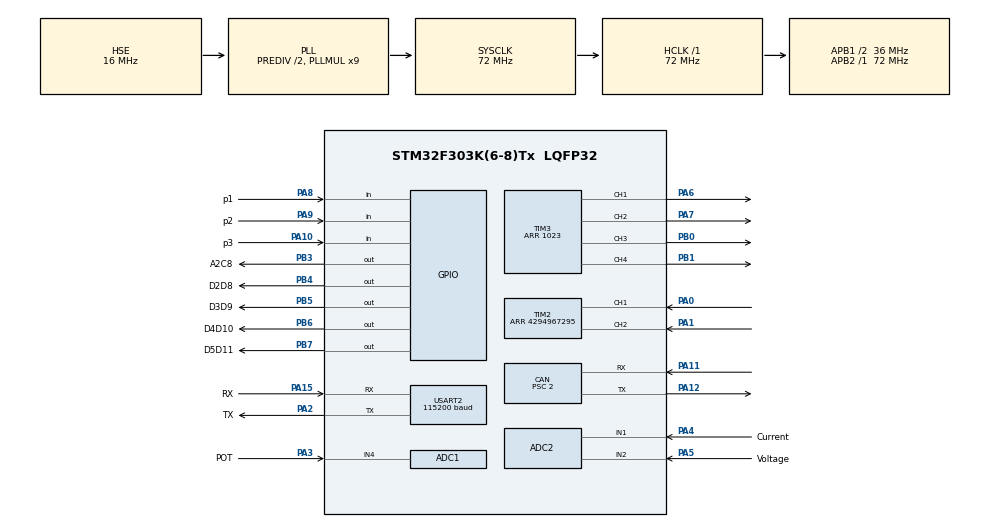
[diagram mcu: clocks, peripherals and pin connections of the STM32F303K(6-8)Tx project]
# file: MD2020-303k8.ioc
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ADC1.Channel-2\#ChannelRegularConversion=ADC_CHANNEL_4
ADC1.ClockPrescaler=ADC_CLOCK_SYNC_PCLK_DIV4
ADC1.ContinuousConvMode=ENABLE
ADC1.DMAContinuousRequests=ENABLE
ADC1.EnableInjectedConversion=DISABLE
ADC1.NbrOfConversionFlag=1
ADC1.Offset-2\#ChannelRegularConversion=0
ADC1.OffsetNumber-2\#ChannelRegularConversion=ADC_OFFSET_NONE
ADC1.Overrun=ADC_OVR_DATA_PRESERVED
ADC1.Rank-2\#ChannelRegularConversion=1
ADC1.SamplingTime-2\#ChannelRegularConversion=ADC_SAMPLETIME_19CYCLES_5
ADC1.SubFamily=STM32F303x8
ADC1.master=1
ADC2.Channel-8\#ChannelRegularConversion=ADC_CHANNEL_1
ADC2.Channel-9\#ChannelRegularConversion=ADC_CHANNEL_2
ADC2.ClockPrescaler=ADC_CLOCK_SYNC_PCLK_DIV4
ADC2.ContinuousConvMode=ENABLE
ADC2.DMAContinuousRequests=ENABLE
ADC2.EOCSelection=ADC_EOC_SEQ_CONV
ADC2.EnableInjectedConversion=DISABLE
ADC2.EnableRegularConversion=ENABLE
ADC2.NbrOfConversion=2
ADC2.NbrOfConversionFlag=1
ADC2.Offset-8\#ChannelRegularConversion=0
ADC2.Offset-9\#ChannelRegularConversion=0
ADC2.OffsetNumber-8\#ChannelRegularConversion=ADC_OFFSET_NONE
ADC2.OffsetNumber-9\#ChannelRegularConversion=ADC_OFFSET_NONE
ADC2.Rank-8\#ChannelRegularConversion=1
ADC2.Rank-9\#ChannelRegularConversion=2
ADC2.SamplingTime-8\#ChannelRegularConversion=ADC_SAMPLETIME_1CYCLE_5
ADC2.SamplingTime-9\#ChannelRegularConversion=ADC_SAMPLETIME_1CYCLE_5
ADC2.SubFamily=STM32F303x8
CAN.BS1=CAN_BS1_15TQ
CAN.BS2=CAN_BS2_2TQ
CAN.CalculateTimeQuantum=55.55555555555556
CAN.Prescaler=2
Dma.ADC1.0.Direction=DMA_PERIPH_TO_MEMORY
Dma.ADC1.0.Instance=DMA1_Channel1
Dma.ADC1.0.MemDataAlignment=DMA_MDATAALIGN_HALFWORD
Dma.ADC1.0.MemInc=DMA_MINC_ENABLE
Dma.ADC1.0.Mode=DMA_CIRCULAR
Dma.ADC1.0.PeriphDataAlignment=DMA_PDATAALIGN_HALFWORD
Dma.ADC1.0.PeriphInc=DMA_PINC_DISABLE
Dma.ADC1.0.Priority=DMA_PRIORITY_LOW
Dma.ADC2.1.Direction=DMA_PERIPH_TO_MEMORY
Dma.ADC2.1.Instance=DMA1_Channel2
Dma.ADC2.1.MemDataAlignment=DMA_MDATAALIGN_HALFWORD
Dma.ADC2.1.MemInc=DMA_MINC_ENABLE
Dma.ADC2.1.Mode=DMA_CIRCULAR
Dma.ADC2.1.PeriphDataAlignment=DMA_PDATAALIGN_HALFWORD
Dma.ADC2.1.PeriphInc=DMA_PINC_DISABLE
Dma.ADC2.1.Priority=DMA_PRIORITY_LOW
Dma.Request0=ADC1
Dma.Request1=ADC2
FREERTOS.INCLUDE_vTaskDelayUntil=1
FREERTOS.Tasks01=defaultTask,0,128,StartDefaultTask,Default,NULL,Dynamic,NULL,NULL;MinorLoopTask,3,256,StartMinorLoopTask,Default,NULL,Dynamic,NULL,NULL;MajorLoopTask,2,1024,StartMajorLoopTask,Default,NULL,Dynamic,NULL,NULL;CanCommunicatio,1,512,StartCanCommunicationTask,Default,NULL,Dynamic,NULL,NULL
FREERTOS.configTOTAL_HEAP_SIZE=8200
Mcu.Family=STM32F3
Mcu.Name=STM32F303K(6-8)Tx
Mcu.Package=LQFP32
NVIC.ADC1_2_IRQn=true\:5\:0\:false\:false\:true\:true\:true\:true
NVIC.CAN_RX0_IRQn=true\:5\:0\:false\:false\:true\:true\:true\:true
NVIC.CAN_RX1_IRQn=true\:5\:0\:false\:false\:true\:true\:true\:true
NVIC.CAN_TX_IRQn=true\:5\:0\:false\:false\:true\:true\:true\:true
NVIC.DMA1_Channel1_IRQn=true\:5\:0\:false\:false\:true\:true\:false\:true
NVIC.DMA1_Channel2_IRQn=true\:5\:0\:false\:false\:true\:true\:false\:true
NVIC.PriorityGroup=NVIC_PRIORITYGROUP_4
NVIC.TIM1_TRG_COM_TIM17_IRQn=true\:0\:0\:false\:false\:true\:false\:false\:true
NVIC.TimeBase=TIM1_TRG_COM_TIM17_IRQn
NVIC.TimeBaseIP=TIM17
NVIC.USART2_IRQn=true\:5\:0\:false\:false\:true\:true\:true\:true
PA0.Signal=S_TIM2_CH1_ETR
PA1.Signal=S_TIM2_CH2
PA10.GPIO_Label=p3
PA10.Signal=GPIO_Input
PA11.Mode=Master
PA11.Signal=CAN_RX
PA12.Mode=Master
PA12.Signal=CAN_TX
PA13.Mode=Serial_Wire
PA13.Signal=SYS_JTMS-SWDIO
PA14.Mode=Serial_Wire
PA14.Signal=SYS_JTCK-SWCLK
PA15.GPIO_Label=RX
PA15.Mode=Asynchronous
PA15.Signal=USART2_RX
PA2.GPIO_Label=TX
PA2.Mode=Asynchronous
PA2.Signal=USART2_TX
PA3.GPIO_Label=POT
PA3.Mode=IN4-Single-Ended
PA3.Signal=ADC1_IN4
PA4.GPIO_Label=Current
PA4.Mode=IN1-Single-Ended
PA4.Signal=ADC2_IN1
PA5.GPIO_Label=Voltage
PA5.Mode=IN2-Single-Ended
PA5.Signal=ADC2_IN2
PA6.Signal=S_TIM3_CH1
PA7.Signal=S_TIM3_CH2
PA8.GPIO_Label=p1
PA8.Signal=GPIO_Input
PA9.GPIO_Label=p2
PA9.Signal=GPIO_Input
PB0.Signal=S_TIM3_CH3
PB1.Signal=S_TIM3_CH4
PB3.GPIO_Label=A2C8
PB3.Signal=GPIO_Output
PB4.GPIO_Label=D2D8
PB4.Signal=GPIO_Output
PB5.GPIO_Label=D3D9
PB5.Signal=GPIO_Output
PB6.GPIO_Label=D4D10
PB6.Signal=GPIO_Output
PB7.GPIO_Label=D5D11
PB7.Signal=GPIO_Output
PF0\ /\ OSC_IN.Mode=HSE-External-Oscillator
PF0\ /\ OSC_IN.Signal=RCC_OSC_IN
PF1\ /\ OSC_OUT.Mode=HSE-External-Oscillator
PF1\ /\ OSC_OUT.Signal=RCC_OSC_OUT
ProjectManager.HeapSize=0x200
ProjectManager.StackSize=0x400
ProjectManager.TargetToolchain=STM32CubeIDE
RCC.AHBFreq_Value=72000000
RCC.APB1CLKDivider=RCC_HCLK_DIV2
RCC.APB1Freq_Value=36000000
RCC.APB1TimFreq_Value=72000000
RCC.APB2Freq_Value=72000000
RCC.APB2TimFreq_Value=72000000
RCC.CortexFreq_Value=72000000
RCC.HCLKFreq_Value=72000000
RCC.HSE_VALUE=16000000
RCC.HSI_VALUE=8000000
RCC.PLLMUL=RCC_PLL_MUL9
RCC.PLLSourceVirtual=RCC_PLLSOURCE_HSE
RCC.RCC_PLLsource_Clock_Source_FROM_HSE=RCC_HSE_PREDIV_DIV2
RCC.SYSCLKFreq_VALUE=72000000
RCC.SYSCLKSourceVirtual=RCC_SYSCLKSOURCE_PLLCLK
SH.S_TIM2_CH1_ETR.0=TIM2_CH1,Encoder_Interface
SH.S_TIM2_CH2.0=TIM2_CH2,Encoder_Interface
SH.S_TIM3_CH1.0=TIM3_CH1,PWM Generation1 CH1
SH.S_TIM3_CH2.0=TIM3_CH2,PWM Generation2 CH2
SH.S_TIM3_CH3.0=TIM3_CH3,PWM Generation3 CH3
SH.S_TIM3_CH4.0=TIM3_CH4,PWM Generation4 CH4
TIM2.EncoderMode=TIM_ENCODERMODE_TI12
TIM2.IC1Filter=3
TIM2.IC1Polarity=TIM_ICPOLARITY_FALLING
TIM2.IC2Filter=3
TIM2.IC2Polarity=TIM_ICPOLARITY_FALLING
TIM2.Period=4294967295
TIM3.AutoReloadPreload=TIM_AUTORELOAD_PRELOAD_ENABLE
TIM3.Channel-PWM\ Generation1\ CH1=TIM_CHANNEL_1
TIM3.Channel-PWM\ Generation2\ CH2=TIM_CHANNEL_2
TIM3.Channel-PWM\ Generation3\ CH3=TIM_CHANNEL_3
TIM3.Channel-PWM\ Generation4\ CH4=TIM_CHANNEL_4
TIM3.CounterMode=TIM_COUNTERMODE_CENTERALIGNED1
TIM3.Period=1023
TIM3.TIM_MasterOutputTrigger=TIM_TRGO_UPDATE
USART2.BaudRate=115200
USART2.VirtualMode-Asynchronous=VM_ASYNC
VP_FREERTOS_VS_CMSIS_V1.Mode=CMSIS_V1
VP_SYS_VS_tim17.Mode=TIM17
VP_TIM3_VS_ClockSourceINT.Mode=Internal
board=custom

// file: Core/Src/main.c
/* USER CODE BEGIN Header */
/**
  ******************************************************************************
  * @file           : main.c
  * @brief          : Main program body
  ******************************************************************************
  * @attention
  *
  * <h2><center>&copy; Copyright (c) 2020 STMicroelectronics.
  * All rights reserved.</center></h2>
  *
  * This software component is licensed by ST under Ultimate Liberty license
  * SLA0044, the "License"; You may not use this file except in compliance with
  * the License. You may obtain a copy of the License at:
  *                             www.st.com/SLA0044
  *
  ******************************************************************************
  */
/* USER CODE END Header */

#include "main.h"
#include "cmsis_os.h"
#include "adc.h"
#include "can.h"
#include "dma.h"
#include "tim.h"
#include "usart.h"
#include "gpio.h"

void SystemClock_Config(void);
void MX_FREERTOS_Init(void);

int main(void)
{

  /* MCU Configuration--------------------------------------------------------*/

  /* Reset of all peripherals, Initializes the Flash interface and the Systick. */
  HAL_Init();

  /* Configure the system clock */
  SystemClock_Config();

  /* Initialize all configured peripherals */
  MX_GPIO_Init();
  MX_DMA_Init();
  MX_ADC1_Init();
  MX_ADC2_Init();
  MX_CAN_Init();
  MX_TIM2_Init();
  MX_TIM3_Init();
  MX_USART2_UART_Init();
  /* USER CODE BEGIN 2 */
  HAL_TIM_Encoder_Start(&htim2, TIM_CHANNEL_ALL);
  TIM_PWM_Start();

  /* USER CODE END 2 */

  /* Call init function for freertos objects (in freertos.c) */
  MX_FREERTOS_Init();
  /* Start scheduler */
  osKernelStart();

  /* We should never get here as control is now taken by the scheduler */
  /* Infinite loop */
  while (1)
  {

  }
}

void SystemClock_Config(void)
{
  RCC_OscInitTypeDef RCC_OscInitStruct = {0};
  RCC_ClkInitTypeDef RCC_ClkInitStruct = {0};

  /** Initializes the CPU, AHB and APB busses clocks
  */
  RCC_OscInitStruct.OscillatorType = RCC_OSCILLATORTYPE_HSE;
  RCC_OscInitStruct.HSEState = RCC_HSE_ON;
  RCC_OscInitStruct.HSEPredivValue = RCC_HSE_PREDIV_DIV2;
  RCC_OscInitStruct.HSIState = RCC_HSI_ON;
  RCC_OscInitStruct.PLL.PLLState = RCC_PLL_ON;
  RCC_OscInitStruct.PLL.PLLSource = RCC_PLLSOURCE_HSE;
  RCC_OscInitStruct.PLL.PLLMUL = RCC_PLL_MUL9;
  if (HAL_RCC_OscConfig(&RCC_OscInitStruct) != HAL_OK)
  {
    Error_Handler();
  }
  /** Initializes the CPU, AHB and APB busses clocks
  */
  RCC_ClkInitStruct.ClockType = RCC_CLOCKTYPE_HCLK|RCC_CLOCKTYPE_SYSCLK
                              |RCC_CLOCKTYPE_PCLK1|RCC_CLOCKTYPE_PCLK2;
  RCC_ClkInitStruct.SYSCLKSource = RCC_SYSCLKSOURCE_PLLCLK;
  RCC_ClkInitStruct.AHBCLKDivider = RCC_SYSCLK_DIV1;
  RCC_ClkInitStruct.APB1CLKDivider = RCC_HCLK_DIV2;
  RCC_ClkInitStruct.APB2CLKDivider = RCC_HCLK_DIV1;

  if (HAL_RCC_ClockConfig(&RCC_ClkInitStruct, FLASH_LATENCY_2) != HAL_OK)
  {
    Error_Handler();
  }
}

 /**
  * @brief  Period elapsed callback in non blocking mode
  * @note   This function is called  when TIM17 interrupt took place, inside
  * HAL_TIM_IRQHandler(). It makes a direct call to HAL_IncTick() to increment
  * a global variable "uwTick" used as application time base.
  * @param  htim : TIM handle
  * @retval None
  */
void HAL_TIM_PeriodElapsedCallback(TIM_HandleTypeDef *htim)
{
  if (htim->Instance == TIM17) {
    HAL_IncTick();
  }
}

void Error_Handler(void)
{
}

/************************ (C) COPYRIGHT STMicroelectronics *****END OF FILE****/

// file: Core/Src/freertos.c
/* USER CODE BEGIN Header */
/**
  ******************************************************************************
  * File Name          : freertos.c
  * Description        : Code for freertos applications
  ******************************************************************************
  * @attention
  *
  * <h2><center>&copy; Copyright (c) 2020 STMicroelectronics.
  * All rights reserved.</center></h2>
  *
  * This software component is licensed by ST under Ultimate Liberty license
  * SLA0044, the "License"; You may not use this file except in compliance with
  * the License. You may obtain a copy of the License at:
  *                             www.st.com/SLA0044
  *
  ******************************************************************************
  */
/* USER CODE END Header */

#include "FreeRTOS.h"
#include "task.h"
#include "main.h"
#include "cmsis_os.h"

/* USER CODE BEGIN Includes */
#include "can.h"
#include "adc.h"
#include "tim.h"
#include "gpio.h"
#include "usart.h"
#include "math.h"
#include <string.h>
/* USER CODE END Includes */

/* USER CODE BEGIN Variables */
static int32_t encval;
/* USER CODE END Variables */
osThreadId defaultTaskHandle;
osThreadId MinorLoopTaskHandle;
osThreadId MajorLoopTaskHandle;
osThreadId CanCommunicatioHandle;

void StartDefaultTask(void const * argument);
void StartMinorLoopTask(void const * argument);
void StartMajorLoopTask(void const * argument);
void StartCanCommunicationTask(void const * argument);

void MX_FREERTOS_Init(void); /* (MISRA C 2004 rule 8.1) */

/* GetIdleTaskMemory prototype (linked to static allocation support) */
void vApplicationGetIdleTaskMemory( StaticTask_t **ppxIdleTaskTCBBuffer, StackType_t **ppxIdleTaskStackBuffer, uint32_t *pulIdleTaskStackSize );

/* USER CODE BEGIN GET_IDLE_TASK_MEMORY */
static StaticTask_t xIdleTaskTCBBuffer;
static StackType_t xIdleStack[configMINIMAL_STACK_SIZE];

void vApplicationGetIdleTaskMemory( StaticTask_t **ppxIdleTaskTCBBuffer, StackType_t **ppxIdleTaskStackBuffer, uint32_t *pulIdleTaskStackSize )
{
  *ppxIdleTaskTCBBuffer = &xIdleTaskTCBBuffer;
  *ppxIdleTaskStackBuffer = &xIdleStack[0];
  *pulIdleTaskStackSize = configMINIMAL_STACK_SIZE;
  /* place for user code */
}
/* USER CODE END GET_IDLE_TASK_MEMORY */

void MX_FREERTOS_Init(void) {

  /* Create the thread(s) */
  /* definition and creation of defaultTask */
  osThreadDef(defaultTask, StartDefaultTask, osPriorityNormal, 0, 128);
  defaultTaskHandle = osThreadCreate(osThread(defaultTask), NULL);

  /* definition and creation of MinorLoopTask */
  osThreadDef(MinorLoopTask, StartMinorLoopTask, osPriorityRealtime, 0, 256);
  MinorLoopTaskHandle = osThreadCreate(osThread(MinorLoopTask), NULL);

  /* definition and creation of MajorLoopTask */
  osThreadDef(MajorLoopTask, StartMajorLoopTask, osPriorityHigh, 0, 1024);
  MajorLoopTaskHandle = osThreadCreate(osThread(MajorLoopTask), NULL);

  /* definition and creation of CanCommunicatio */
  osThreadDef(CanCommunicatio, StartCanCommunicationTask, osPriorityAboveNormal, 0, 512);
  CanCommunicatioHandle = osThreadCreate(osThread(CanCommunicatio), NULL);

}

void StartDefaultTask(void const * argument)
{
  for(;;)
  {
    osDelay(1);
  }
}

void StartMinorLoopTask(void const * argument)
{
  for(;;)
  {
    osDelay(1);
  }
}

void StartMajorLoopTask(void const * argument)
{
  /* USER CODE BEGIN StartMajorLoopTask */
  /* Infinite loop */
  for(;;)
  {
	encval=TIM_Encoder_Value();
//	TxData[5]=encval%200;
	memcpy(TxData,encval,4);
	uint32_t tim=HAL_GetTick();
	float sec=tim/1000.0;
	float duty=0.1*sinf(M_TWOPI*sec);
	Duty_Set(duty);
    osDelay(1);
  }
  /* USER CODE END StartMajorLoopTask */
}

void StartCanCommunicationTask(void const * argument)
{
  /* USER CODE BEGIN StartCanCommunicationTask */
  /* Infinite loop */
	HAL_CAN_Start(&hcan);
	if (HAL_CAN_ActivateNotification(&hcan,CAN_IT_RX_FIFO0_MSG_PENDING)!=HAL_OK){
		Error_Handler();
	}

  for(;;)
  {
		TxHeader.StdId = 0x100;
		TxHeader.RTR = CAN_RTR_DATA;
		TxHeader.IDE = CAN_ID_STD;
		TxHeader.DLC = 8;
		TxHeader.TransmitGlobalTime = DISABLE;
		TxData[0] = 100;
		TxData[1] = RxData[1];
		TxData[7] = RxData[2];
		if (HAL_CAN_AddTxMessage(&hcan, &TxHeader, TxData, &TxMailbox)
				!= HAL_OK)
			Error_Handler();
		while (HAL_CAN_GetTxMailboxesFreeLevel(&hcan) != 3) {

		}
		osDelay(1);
  }
  /* USER CODE END StartCanCommunicationTask */
}

/************************ (C) COPYRIGHT STMicroelectronics *****END OF FILE****/
